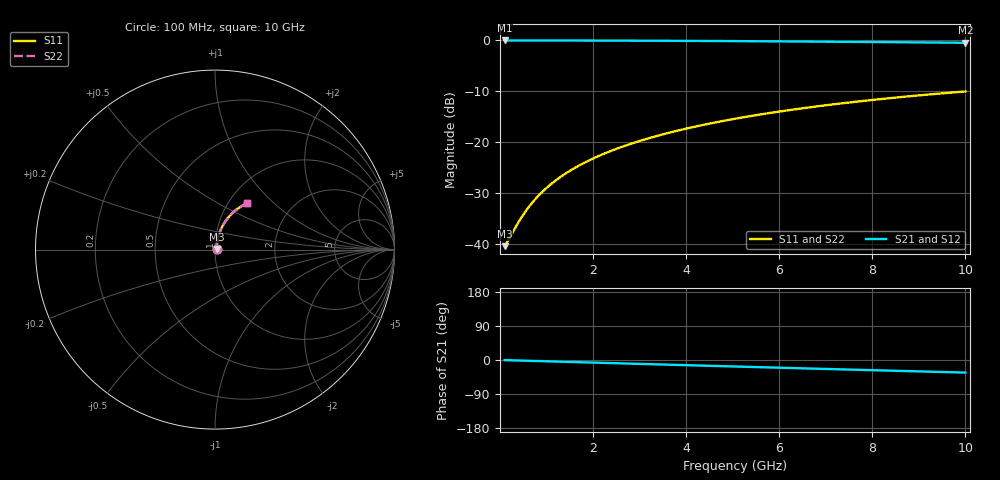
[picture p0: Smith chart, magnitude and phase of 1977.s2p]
# Hz S RI R 50.00
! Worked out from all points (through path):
!   100 points, 100 MHz to 10 GHz, reference 50 ohm
!   highest |S21| = -0.08 dB at 100 MHz (marker M1); lowest = -0.5 dB at 10 GHz (marker M2)
!   group delay of S21, straight-line fit = 9.24 ps
!   lowest |S11| = -40.4 dB at 100 MHz (marker M3), VSWR 1.02, Z = 50.9 + j0.343 ohm
!   |S11| at or under -10 dB: start of sweep to end of sweep
!   |S22| runs from -40.4 to -10.1 dB; largest |S21 - S12| = 0
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1e8  0.00889 0.00337  0.9911 -0.00593  0.9911 -0.00593  0.00889 0.00337
2e8  0.009 0.00674  0.991 -0.0119  0.991 -0.0119  0.009 0.00674
4e8  0.00932 0.0135  0.9906 -0.0237  0.9906 -0.0237  0.00932 0.0135
5e8  0.00953 0.0168  0.9904 -0.0296  0.9904 -0.0296  0.00953 0.0168
6e8  0.00978 0.0202  0.9901 -0.0355  0.9901 -0.0355  0.00978 0.0202
7e8  0.0101 0.0236  0.9898 -0.0415  0.9898 -0.0415  0.0101 0.0236
8e8  0.0104 0.0269  0.9894 -0.0474  0.9894 -0.0474  0.0104 0.0269
1e9  0.0112 0.0336  0.9885 -0.0592  0.9885 -0.0592  0.0112 0.0336
1.2e9  0.0121 0.0403  0.9874 -0.071  0.9874 -0.071  0.0121 0.0403
1.5e9  0.0137 0.0502  0.9855 -0.0886  0.9855 -0.0886  0.0137 0.0502
1.8e9  0.0158 0.0601  0.9831 -0.1062  0.9831 -0.1062  0.0158 0.0601
2.1e9  0.0181 0.0699  0.9804 -0.1236  0.9804 -0.1236  0.0181 0.0699
2.5e9  0.0218 0.0828  0.9761 -0.1468  0.9761 -0.1468  0.0218 0.0828
2.9e9  0.0261 0.0954  0.9711 -0.1697  0.9711 -0.1697  0.0261 0.0954
3.4e9  0.0322 0.1109  0.9639 -0.198  0.9639 -0.198  0.0322 0.1109
4.2e9  0.0439 0.1347  0.9501 -0.2424  0.9501 -0.2424  0.0439 0.1347
5.1e9  0.0596 0.1599  0.9317 -0.2907  0.9317 -0.2907  0.0596 0.1599
5.9e9  0.0755 0.1806  0.9128 -0.332  0.9128 -0.332  0.0755 0.1806
6.7e9  0.0931 0.1996  0.8918 -0.3717  0.8918 -0.3717  0.0931 0.1996
7.5e9  0.1121 0.2167  0.8689 -0.4095  0.8689 -0.4095  0.1121 0.2167
8.4e9  0.1351 0.2336  0.841 -0.4497  0.841 -0.4497  0.1351 0.2336
1e10  0.1788 0.2572  0.787 -0.515  0.787 -0.515  0.1788 0.2572
